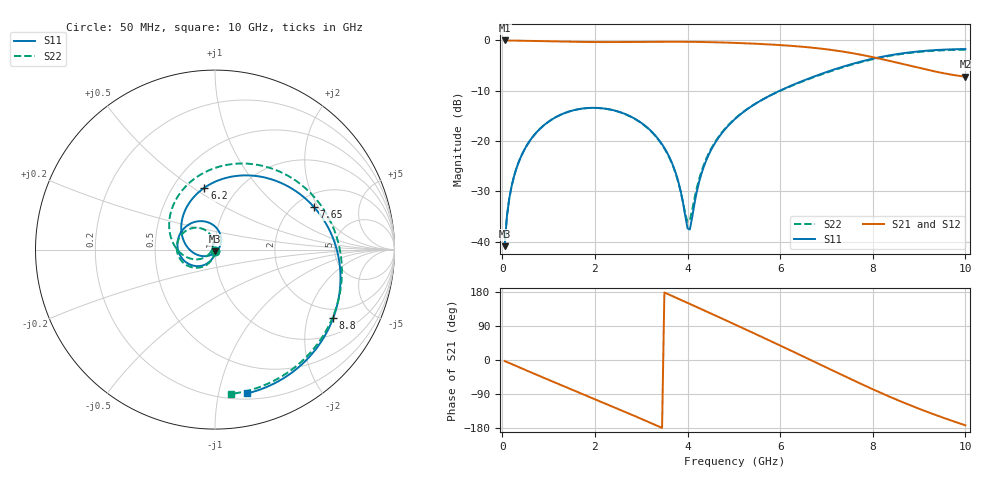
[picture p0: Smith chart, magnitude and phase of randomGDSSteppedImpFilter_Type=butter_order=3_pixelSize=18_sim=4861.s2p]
! freq	dB(S11)	phase(S11)	dB(S12)	phase(S12)
!  dB(S21)	phase(S21)	dB(S22)	phase(S22)
!S-par simulation data
#  GHz  S  DB  R 50
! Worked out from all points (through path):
!   200 points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, 50 MHz to 10 GHz, reference 50 ohm
!   highest |S21| = 0.00 dB at 50 MHz (marker M1); lowest = -7.2 dB at 10 GHz (marker M2)
!   group delay of S21, straight-line fit = 152 ps
!   lowest |S11| = -40.9 dB at 50 MHz (marker M3), VSWR 1.02, Z = 50 - j0.901 ohm
!   |S11| at or under -10 dB: start of sweep to 5.991 GHz
!   |S22| runs from -40.9 to -1.8 dB; largest |S21 - S12| = 0
!   S11 on the Smith chart (normalised r, x): 50 MHz: 1.00, -0.02; 6.2 GHz: 0.71, +0.55; 7.65 GHz: 2.49, +1.84; 8.8 GHz: 1.59, -2.91; 10 GHz: 0.25, -1.22
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0.05  -40.89 -92.0  -0.00 -2.7  -0.00 -2.7  -40.88 -91.7
0.1  -34.94 -95.1  -0.01 -5.3  -0.01 -5.3  -34.93 -94.5
0.2  -29.01 -101.1  -0.02 -10.6  -0.02 -10.6  -29.01 -100.0
0.5  -21.33 -118.4  -0.07 -26.4  -0.07 -26.4  -21.33 -115.4
1.15  -15.27 -154.3  -0.20 -60.1  -0.20 -60.1  -15.27 -147.3
1.75  -13.51 172.8  -0.30 -90.7  -0.30 -90.7  -13.52 -175.8
2.5  -14.12 131.1  -0.32 -129.1  -0.32 -129.1  -14.15 149.3
3.4  -20.00 76.1  -0.26 -176.5  -0.26 -176.5  -20.08 110.3
3.75  -26.49 47.3  -0.26 164.5  -0.26 164.5  -26.63 103.3
4  -37.35 -22.0  -0.27 150.8  -0.27 150.8  -36.05 151.1
4.05  -37.57 -60.8  -0.28 148.0  -0.28 148.0  -35.69 178.3
4.2  -30.07 -120.5  -0.29 139.7  -0.29 139.7  -29.29 -145.1
4.4  -23.92 -144.9  -0.33 128.6  -0.33 128.6  -23.59 -142.1
5.05  -15.41 168.8  -0.50 92.2  -0.50 92.2  -15.33 -167.5
5.6  -11.85 134.7  -0.71 61.1  -0.71 61.1  -11.85 164.4
6.2  -9.13 99.8  -1.05 26.7  -1.05 26.7  -9.21 130.6
6.7  -7.28 72.2  -1.45 -2.3  -1.45 -2.3  -7.39 100.3
7.65  -4.43 23.2  -2.68 -57.5  -2.68 -57.5  -4.55 40.2
8.35  -2.98 -10.2  -4.04 -96.1  -4.04 -96.1  -3.09 -2.1
8.8  -2.37 -30.2  -5.03 -119.1  -5.03 -119.1  -2.48 -27.0
9.4  -1.89 -54.8  -6.28 -147.0  -6.28 -147.0  -2.01 -56.9
10  -1.71 -77.5  -7.22 -172.4  -7.22 -172.4  -1.84 -83.6
